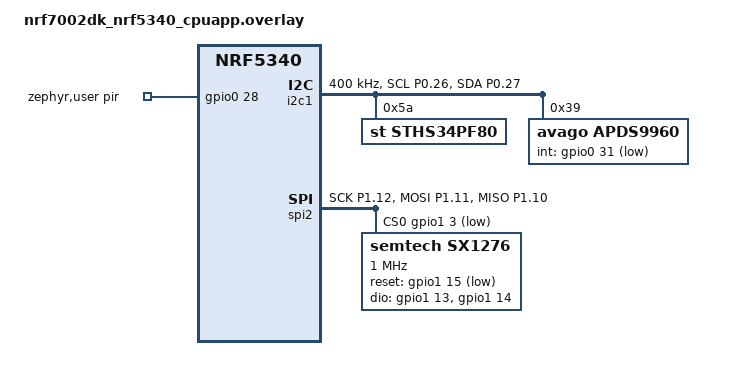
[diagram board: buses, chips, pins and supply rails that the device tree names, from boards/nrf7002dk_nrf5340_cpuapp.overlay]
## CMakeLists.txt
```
# SPDX-License-Identifier: Apache-2.0

cmake_minimum_required(VERSION 3.20.0)

find_package(Zephyr REQUIRED HINTS $ENV{ZEPHYR_BASE})
project(zephyr_app)

FILE(GLOB app_sources src/*.c)
# target_sources(app PRIVATE ${app_sources})
target_sources(app PRIVATE
    src/main.c
    src/sths34pf80_reg.c
    src/color.c
    src/pir.c
    src/lorawan.c
)

target_include_directories(app PRIVATE ${CMAKE_CURRENT_SOURCE_DIR}/include)

zephyr_library_sources(
    #src/sths34pf80_zephyr.c
    src/sths34pf80_reg.c
    src/color.c
    src/pir.c
    src/lorawan.c
)
```

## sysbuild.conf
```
# # Step 1.1 - Enable MCUboot 
# SB_CONFIG_BOOTLOADER_MCUBOOT=y

# # STEP 1.2 - Configure bootloader to use only one slot. 
# # SB_CONFIG_MCUBOOT_MODE_SINGLE_APP=y
# # STEP 5.1 - Go back to two slots, as we need two for DFU from the app
# SB_CONFIG_MCUBOOT_MODE_SINGLE_APP=n

# # STEP 2.1 - Add private key for MCUboot
# SB_CONFIG_BOOT_SIGNATURE_KEY_FILE="\${APP_DIR}/private_key.pem"

# # STEP 2.2. - Configure key type
# SB_CONFIG_BOOT_SIGNATURE_TYPE_ECDSA_P256=y

# # STEP 3.1 - MCUboot should use external flash
# SB_CONFIG_PM_EXTERNAL_FLASH_MCUBOOT_SECONDARY=y
# # STEP 3.1 - For SPI, we need to set this
# SB_CONFIG_PM_OVERRIDE_EXTERNAL_DRIVER_CHECK=y

SB_CONFIG_BOOTLOADER_MCUBOOT=n
```

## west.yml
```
manifest:
  remotes:
    - name: nrf-connect-sdk
      url-base: https://github.com/nrfconnect
    # Add the Memfault GitHub repo
    - name: memfault
      url-base: https://github.com/memfault

  projects:
    - name: sdk-nrf
      remote: nrf-connect-sdk
      path: nrf
      revision: v3.1.1
      import: true

    # Explicitly add the Memfault SDK, to override the version in the sdk-nrf manifest
    - name: memfault-firmware-sdk
      path: modules/lib/memfault-firmware-sdk
      revision: 1.30.3
      remote: memfault

  self:
    path: .
```

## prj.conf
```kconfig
# Logging
CONFIG_LOG=y
CONFIG_LOG_MODE_DEFERRED=y

# Stacks
CONFIG_MAIN_STACK_SIZE=2048
CONFIG_SYSTEM_WORKQUEUE_STACK_SIZE=2048

# Basic drivers
CONFIG_GPIO=y
CONFIG_I2C=y

CONFIG_CBPRINTF_FP_SUPPORT=y

CONFIG_SENSOR=y

# For APDS-9960 Zephyr driver
CONFIG_APDS9960=y


# LoRa / LoRaWAN
CONFIG_LORA=y
CONFIG_LORAWAN=y
CONFIG_LORAMAC_REGION_US915=y
CONFIG_HAS_SEMTECH_RADIO_DRIVERS=y
CONFIG_LORA_SX127X=y

CONFIG_TEST_RANDOM_GENERATOR=y
CONFIG_ENTROPY_GENERATOR=y

# # MCUboot + mcumgr over UART (optional but matches your DFU setup)
# CONFIG_BOOTLOADER_MCUBOOT=y
# CONFIG_MCUMGR=y
# CONFIG_MCUMGR_GRP_OS=y
# CONFIG_MCUMGR_GRP_IMG=y
# CONFIG_MCUMGR_TRANSPORT_UART=y

# # mcumgr dependencies
# CONFIG_NET_BUF=y
# CONFIG_ZCBOR=y
# CONFIG_CRC=y
# CONFIG_FLASH=y
# CONFIG_IMG_MANAGER=y
# CONFIG_STREAM_FLASH=y
# CONFIG_FLASH_MAP=y
# CONFIG_BASE64=y

# CONFIG_MAIN_STACK_SIZE=2048
# CONFIG_SYSTEM_WORKQUEUE_STACK_SIZE=2048
# CONFIG_HAS_SEMTECH_RADIO_DRIVERS=y
# CONFIG_LORA_SX127X=y

# CONFIG_BUILD_WITH_TFM=y
# CONFIG_TFM_SECURE_UART0=y

# CONFIG_ENTROPY_GENERATOR=y
# CONFIG_TEST_RANDOM_GENERATOR=y

# CONFIG_I2C=y

# # CONFIG_MCUBOOT_LOG_LEVEL_INF=y
# CONFIG_GPIO=y

# # # Step 5.2 -Enable mcumgr DFU in application
# # # Enable MCUMGR 
# CONFIG_MCUMGR=y

# # # Enable MCUMGR management for both OS and Images
# CONFIG_MCUMGR_GRP_OS=y
# CONFIG_MCUMGR_GRP_IMG=y

# # # Configure MCUMGR transport to UART
# CONFIG_MCUMGR_TRANSPORT_UART=y

# # # Dependencies
# # # Configure dependencies for CONFIG_MCUMGR  
# CONFIG_NET_BUF=y
# CONFIG_ZCBOR=y
# CONFIG_CRC=y

# # # Configure dependencies for CONFIG_MCUMGR_GRP_IMG  
# CONFIG_FLASH=y
# CONFIG_IMG_MANAGER=y

# # # Configure dependencies for CONFIG_IMG_MANAGER  
# CONFIG_STREAM_FLASH=y
# CONFIG_FLASH_MAP=y

# # # Configure dependencies for CONFIG_MCUMGR_TRANSPORT_UART 
# CONFIG_BASE64=y

# # Step 1.1 - Enable SPI driver for the application
# CONFIG_GPIO=y
# CONFIG_SPI=y
# CONFIG_SPI_NOR=y
# CONFIG_SPI_NOR_SFDP_DEVICETREE=y
# CONFIG_SPI_NOR_FLASH_LAYOUT_PAGE_SIZE=4096
# # QSPI drivers are enabled by defualt for some chips.
# # Disable it explicitly to be sure QSPI is disabled.
# CONFIG_NORDIC_QSPI_NOR=n 
```

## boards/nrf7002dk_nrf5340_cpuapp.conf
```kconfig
#
# Copyright (c) 2023 Nordic Semiconductor ASA
#
# SPDX-License-Identifier: LicenseRef-Nordic-5-Clause
#

# General
CONFIG_NEWLIB_LIBC=y
CONFIG_POSIX_CLOCK=y
# CONFIG_HEAP_MEM_POOL_SIZE=153600
CONFIG_HW_STACK_PROTECTION=y
CONFIG_HW_ID_LIBRARY=y
CONFIG_HW_ID_LIBRARY_SOURCE_NET_MAC=y

# Heap and stacks
CONFIG_HEAP_MEM_POOL_SIZE=73728
CONFIG_MAIN_STACK_SIZE=2048
CONFIG_SYSTEM_WORKQUEUE_STACK_SIZE=4096
CONFIG_NET_TX_STACK_SIZE=8192
CONFIG_NET_RX_STACK_SIZE=8192

# Network
CONFIG_NET_SOCKETS=y
CONFIG_NET_L2_ETHERNET=y
CONFIG_NET_TCP=y
CONFIG_NET_TCP_WORKQ_STACK_SIZE=8192
CONFIG_NET_UDP=y
CONFIG_NET_SOCKETS_OFFLOAD=y
CONFIG_NET_DHCPV4=y
CONFIG_NET_CONTEXT_SNDTIMEO=y
CONFIG_NET_SOCKETS_SOCKOPT_TLS=y
CONFIG_NET_STATISTICS=y
CONFIG_NET_STATISTICS_WIFI=y
CONFIG_NET_STATISTICS_USER_API=n
CONFIG_NET_PKT_RX_COUNT=8
CONFIG_NET_PKT_TX_COUNT=8
CONFIG_NET_MAX_CONTEXTS=5
CONFIG_NET_CONTEXT_SYNC_RECV=y

# DNS
CONFIG_DNS_RESOLVER=y
CONFIG_NET_SOCKETS_DNS_TIMEOUT=30000

# printing of scan results puts pressure on queues in new locking
# design in net_mgmt. So, use a typical number of networks in a crowded
# environment as the queue depth.
CONFIG_NET_MGMT_EVENT_QUEUE_SIZE=50

# Below section is the primary contributor to SRAM and is currently
# not optimized for size.
CONFIG_NET_BUF_RX_COUNT=16
CONFIG_NET_BUF_TX_COUNT=32
CONFIG_NET_BUF_DATA_SIZE=128
# CONFIG_HEAP_MEM_POOL_SIZE=153600
CONFIG_NET_TC_TX_COUNT=1

# Wi-Fi
CONFIG_WIFI=y
CONFIG_NET_L2_WIFI_SHELL=y
CONFIG_NET_SHELL=y
CONFIG_WIFI_CREDENTIALS=y

# Shell
CONFIG_SHELL=y
CONFIG_SHELL_STACK_SIZE=8192

# WPA
CONFIG_WIFI_NM_WPA_SUPPLICANT=y

# Settings subsystem
CONFIG_NVS=y
CONFIG_SETTINGS=y
CONFIG_SETTINGS_NVS=y

# Native network stack
CONFIG_NRF_SECURITY=y
CONFIG_MBEDTLS=y
CONFIG_MBEDTLS_ENABLE_HEAP=y
CONFIG_MBEDTLS_HEAP_SIZE=16000
CONFIG_MBEDTLS_RSA_C=y
CONFIG_MBEDTLS_SSL_SERVER_NAME_INDICATION=y

# PSA
CONFIG_PSA_CRYPTO_DRIVER_CC3XX=n
CONFIG_PSA_WANT_KEY_TYPE_RSA_PUBLIC_KEY=y
CONFIG_PSA_WANT_RSA_KEY_SIZE_2048=y

# Certificate management
CONFIG_MEMFAULT_ROOT_CERT_STORAGE_TLS_CREDENTIAL_STORAGE=y
CONFIG_MEMFAULT_NCS_PROVISION_CERTIFICATES=y

# The sample enables flash storage for coredumps, which depend on the parition manager.
# By default, nRF7002DK builds are for a single image, so the partition manager must be enabled
# also for single image builds.
#CONFIG_PM_SINGLE_IMAGE=y

# Zephyr NET Connection Manager Connectivity layer.
CONFIG_L2_WIFI_CONNECTIVITY=y
CONFIG_L2_WIFI_CONNECTIVITY_AUTO_CONNECT=n
CONFIG_L2_WIFI_CONNECTIVITY_AUTO_DOWN=n

CONFIG_NET_CONNECTION_MANAGER_MONITOR_STACK_SIZE=8192
```

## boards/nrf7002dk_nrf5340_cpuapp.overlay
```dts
/ {
};

&pinctrl {
    i2c1_default: i2c1_default {
        group1 {
            psels = <NRF_PSEL(TWIM_SCL, 0, 26)>,
                    <NRF_PSEL(TWIM_SDA, 0, 27)>;
            bias-pull-up;
        };
    };

    i2c1_sleep: i2c1_sleep {
        group1 {
            psels = <NRF_PSEL(TWIM_SCL, 0, 26)>,
                    <NRF_PSEL(TWIM_SDA, 0, 27)>;
            low-power-enable;
        };
    };
};

&i2c1 {
    status = "okay";
    pinctrl-0 = <&i2c1_default>;
    pinctrl-1 = <&i2c1_sleep>;
    pinctrl-names = "default", "sleep";
    clock-frequency = <I2C_BITRATE_FAST>;

    sths34pf80: sths34pf80@5a {
        compatible = "st,sths34pf80";
        reg = <0x5a>;
        label = "STHS34PF80";
        status = "okay";
    };

    apds9960: apds9960@39 {
        compatible = "avago,apds9960";
        reg = <0x39>;
        int-gpios = <&gpio0 31 GPIO_ACTIVE_LOW>;
        status = "okay";
    };
};

/ {
  zephyr,user {
      pir_gpios = <&gpio0 28 (GPIO_PULL_DOWN | GPIO_ACTIVE_HIGH)>;
      /* If your PIR idles HIGH and pulses LOW, use GPIO_ACTIVE_LOW instead */
  };
};

&spi2 {
    status = "okay";
    compatible = "nordic,nrf-spim";
    cs-gpios = <&gpio1 3 GPIO_ACTIVE_LOW>;   /* P1.03 */

    pinctrl-0 = <&spi2_default>;
    pinctrl-1 = <&spi2_sleep>;
    pinctrl-names = "default", "sleep";

    lora: sx1276@0 {
        compatible = "semtech,sx1276";
        reg = <0>;
        label = "sx1276";

        reset-gpios = <&gpio1 15 GPIO_ACTIVE_LOW>; /* P1.15 */

        dio-gpios = <&gpio1 13 (GPIO_PULL_DOWN | GPIO_ACTIVE_HIGH)>, /* P1.13 */
                    <&gpio1 14 (GPIO_PULL_DOWN | GPIO_ACTIVE_HIGH)>; /* P1.14 */

        spi-max-frequency = <1000000>;
        power-amplifier-output = "pa-boost";
    };
};

&pinctrl {
    /omit-if-no-ref/ spi2_default: spi2_default {
        group1 {
            psels = <NRF_PSEL(SPIM_SCK,  1, 12)>, /* SCK  on P1.12 */
                    <NRF_PSEL(SPIM_MOSI, 1, 11)>, /* MOSI on P1.11 */
                    <NRF_PSEL(SPIM_MISO, 1, 10)>; /* MISO on P1.10 */
        };
    };

    /omit-if-no-ref/ spi2_sleep: spi2_sleep {
        group1 {
            psels = <NRF_PSEL(SPIM_SCK,  1, 12)>,
                    <NRF_PSEL(SPIM_MOSI, 1, 11)>,
                    <NRF_PSEL(SPIM_MISO, 1, 10)>;
            low-power-enable;
        };
    };
};

&{/} {
    aliases {
        lora0 = &lora;
    };
};


// / {
// };

// &pinctrl {
//     i2c1_default: i2c1_default {
//         group1 {
//             psels = <NRF_PSEL(TWIM_SCL, 0, 26)>,
//                     <NRF_PSEL(TWIM_SDA, 0, 27)>;
//             bias-pull-up;
//         };
//     };

//     i2c1_sleep: i2c1_sleep {
//         group1 {
//             psels = <NRF_PSEL(TWIM_SCL, 0, 26)>,
//                     <NRF_PSEL(TWIM_SDA, 0, 27)>;
//             low-power-enable;
//         };
//     };
// };

// &i2c1 {
//     status = "okay";
//     pinctrl-0 = <&i2c1_default>;
//     pinctrl-1 = <&i2c1_sleep>;
//     pinctrl-names = "default", "sleep";

//     clock-frequency = <I2C_BITRATE_FAST>;

//     sths34pf80: sths34pf80@5a {
//         compatible = "st,sths34pf80";
//         reg = <0x5a>;
//         label = "STHS34PF80";
//         status = "okay";
//     };
// };

// / {
// };

// &pinctrl {
//     /* Explicit I2C1 pin configuration: TWIM1 SCL = P1.06, SDA = P1.04 */
//     i2c1_default: i2c1_default {
//         group1 {
//             bias-pull-up;
//             psels = <NRF_PSEL(TWIM_SCL, 1, 6)>,  /* SCL on P1.06 */
//                     <NRF_PSEL(TWIM_SDA, 1, 4)>; /* SDA on P1.04 */
//         };
//     };

//     i2c1_sleep: i2c1_sleep {
//         group1 {
//             psels = <NRF_PSEL(TWIM_SCL, 1, 6)>,
//                     <NRF_PSEL(TWIM_SDA, 1, 4)>;
//             low-power-enable;
//         };
//     };
// };

// &i2c1 {
//     status = "okay";

//     /* Use our explicit pinctrl states */
//     pinctrl-0 = <&i2c1_default>;
//     pinctrl-1 = <&i2c1_sleep>;
//     pinctrl-names = "default", "sleep";

//     sths34pf80: sths34pf80@5a {
//         compatible = "st,sths34pf80";
//         reg = <0x5a>;           /* 7-bit I2C address (default for SparkFun board) */
//         label = "STHS34PF80";
//         status = "okay";
//     };
// };

// &spi1 {
//     status = "okay";
//     compatible = "nordic,nrf-spim";
//     cs-gpios = <&gpio0 15 GPIO_ACTIVE_LOW>;

//     pinctrl-0 = <&spi1_default>;
//     pinctrl-1 = <&spi1_sleep>;
//     pinctrl-names = "default", "sleep";
//     lora: sx1276@0 {
//         compatible = "semtech,sx1276";
//         reg = <0>;
//         label = "sx1276";
//         reset-gpios = <&gpio0 0 GPIO_ACTIVE_LOW>;
//         dio-gpios = <&gpio0 4 (GPIO_PULL_DOWN | GPIO_ACTIVE_HIGH)>,
//                      <&gpio0 1 (GPIO_PULL_DOWN | GPIO_ACTIVE_HIGH)>,
//                      <&gpio0 0 (GPIO_PULL_DOWN | GPIO_ACTIVE_HIGH)>,
//                      <&gpio0 13 (GPIO_PULL_DOWN | GPIO_ACTIVE_HIGH)>,
//                      <&gpio0 5 (GPIO_PULL_DOWN | GPIO_ACTIVE_HIGH)>,
//                      <&gpio0 4 (GPIO_PULL_DOWN | GPIO_ACTIVE_HIGH)>;
//         rfi-enable-gpios = <&gpio0 1 GPIO_ACTIVE_HIGH>;
//         rfo-enable-gpios = <&gpio0 2 GPIO_ACTIVE_HIGH>;
//         pa-boost-enable-gpios = <&gpio0 1 GPIO_ACTIVE_HIGH>;
//         tcxo-power-gpios = <&gpio0 12 GPIO_ACTIVE_HIGH>;
//         tcxo-power-startup-delay-ms = <5>;
//         spi-max-frequency = <1000000>;
//     };
// };

// &pinctrl {
// 	/omit-if-no-ref/ spi1_default: spi1_default {
// 		group1 {
// 			psels = <NRF_PSEL(SPIM_SCK, 1, 12)>,
// 				<NRF_PSEL(SPIM_MOSI, 1, 11)>,
// 				<NRF_PSEL(SPIM_MISO, 1, 10)>;
// 		};
// 	};

// 	/omit-if-no-ref/ spi1_sleep: spi1_sleep {
// 		group1 {
// 			psels = <NRF_PSEL(SPIM_SCK, 1, 12)>,
// 				<NRF_PSEL(SPIM_MOSI, 1, 11)>,
// 				<NRF_PSEL(SPIM_MISO, 1, 10)>;
// 			low-power-enable;
// 		};
// 	};
// };

// / {
//     aliases {
//        lora0 = &lora;
//   };
// };
```

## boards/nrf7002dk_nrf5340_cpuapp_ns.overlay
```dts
&spi2 {
  status = "okay";
  compatible = "nordic,nrf-spim";
  cs-gpios = <&gpio1 3 GPIO_ACTIVE_LOW>;

  pinctrl-0 = <&spi2_default>;
  pinctrl-1 = <&spi2_sleep>;
  pinctrl-names = "default", "sleep";
  lora: sx1276@0 {
    compatible = "semtech,sx1276";
    reg = <0>;
    label = "sx1276";
    reset-gpios = <&gpio1 15 GPIO_ACTIVE_LOW>;
    dio-gpios = <&gpio1 13 (GPIO_PULL_DOWN | GPIO_ACTIVE_HIGH)>,
      <&gpio1 14 (GPIO_PULL_DOWN | GPIO_ACTIVE_HIGH)>;
      spi-max-frequency = <1000000>;
      power-amplifier-output = "pa-boost";
  };
};

// spi setup for rgb sensor
// &i2c0 {
//   compatible = "nordic,nrf-twim";
//   status = "okay";

//   pinctrl-0 = <&i2c0_default>;
//   pinctrl-1 = <&i2c0_sleep>;
//   pinctrl-names = "default", "sleep";

//   clock-frequency = <I2C_BITRATE_STANDARD>;

//   apds9960@39 {
//       compatible = "avago,apds9960";
//       reg = <0x39>;
//       label = "APDS9960";
//       status = "okay";
//       int-gpios = <&gpio0 4 GPIO_ACTIVE_LOW>;
//   };
// };

&pinctrl {
  /omit-if-no-ref/ spi2_default: spi2_default {
      group1 {
          psels = <NRF_PSEL(SPIM_SCK, 1, 12)>,
                  <NRF_PSEL(SPIM_MOSI, 1, 11)>,
                  <NRF_PSEL(SPIM_MISO, 1, 10)>;
      };
  };

  /omit-if-no-ref/ spi2_sleep: spi2_sleep {
      group1 {
          psels = <NRF_PSEL(SPIM_SCK, 1, 12)>,
                  <NRF_PSEL(SPIM_MOSI, 1, 11)>,
                  <NRF_PSEL(SPIM_MISO, 1, 10)>;
          low-power-enable;
      };
  };

  // i2c0_default: i2c0_default {
  //       group1 {
  //           psels = <NRF_PSEL(TWIM_SDA, 0, 2)>,
  //                   <NRF_PSEL(TWIM_SCL, 0, 3)>;
  //       };
  //   };

  //   i2c0_sleep: i2c0_sleep {
  //       group1 {
  //           psels = <NRF_PSEL(TWIM_SDA, 0, 2)>,
  //                   <NRF_PSEL(TWIM_SCL, 0, 3)>;
  //           low-power-enable;
  //       };
  //   };
// };
};

/ {
  aliases {
    lora0 = &lora;
  };
};
/* STEP 2.1 - Add external flash to application */
&mx25r64 {
	status = "okay";
};

/ {
	chosen {
		nordic,pm-ext-flash = &mx25r64;
	};
};

 
// May be needed for ns version of app to run correctly without kernel panic on launch
// EDIT: Seems to have resolved itself without disabling in DT by adding CONFIG_TFM_SECURE_UART0 to prj.conf
// see https://docs.nordicsemi.com/bundle/ncs-latest/page/nrf/security/tfm/tfm_logging.html#configuring_logging_to_the_same_uart_as_the_application
/*
&uart1 {
  status = "disabled";
};
&mx25r64 {
    status = "okay";
};
*/
```

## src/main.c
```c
// #include <zephyr/kernel.h>
// #include "lorawan.h"
// #include "blink.h"

// /* size of stack area used by each thread */
// #define BLINK_STACKSIZE 1024
// #define LORAWAN_STACKSIZE 8192

// /* scheduling priority used by each thread */
// /* Lower priority is higher */
// #define BLINK_PRIORITY 7
// #define LORAWAN_PRIORITY 5

// // LED Blinking Handler Task
// K_THREAD_DEFINE(blink_handler_id, BLINK_STACKSIZE, blink_handler, NULL, NULL,
// NULL, BLINK_PRIORITY, 0, 0); // Main Green LED

// // LoRaWAN Handler Task
// K_THREAD_DEFINE(lorawan_handler_id, LORAWAN_STACKSIZE, lorawan_handler, NULL,
// NULL, NULL, LORAWAN_PRIORITY, 0, 0);

// #include <zephyr/kernel.h>
// #include <zephyr/device.h>
// #include <zephyr/devicetree.h>
// #include <zephyr/sys/printk.h>

// #include "sths34pf80_reg.h"

// /* Must match node label in your devicetree overlay */
// #define STHS_NODE DT_NODELABEL(sths34pf80)

// static struct sths34pf80_zephyr sths_dev;

// void main(void)
// {
//   int ret;

//   printk("STHS34PF80 human-presence demo starting...\n");

//   /* Let power / I2C rails settle */
//   k_msleep(4000);

//   const struct i2c_dt_spec bus = I2C_DT_SPEC_GET(STHS_NODE);

//   ret = sths34pf80z_init(&sths_dev, &bus);
//   if (ret)
//   {
//     printk("STHS init failed (%d)\n", ret);
//     return;
//   }

//   printk("STHS init OK, entering measurement loop...\n");

//   while (1)
//   {
//     float tamb_c = 0.0f;
//     float tobj_c = 0.0f;
//     float tobj_comp_c = 0.0f;
//     int16_t raw_tamb = 0;
//     int16_t raw_tobj = 0;
//     int16_t raw_tobj_comp = 0;
//     int16_t raw_tpres = 0;
//     int16_t raw_tmotion = 0;
//     bool presence = false;
//     bool motion = false;
//     bool amb_shock = false;

//     /* Ambient temperature */
//     ret = sths34pf80z_read_ambient_raw(&sths_dev, &raw_tamb);
//     if (!ret)
//     {
//       tamb_c = (float)raw_tamb / STHS34PF80_TAMBIENT_SENS_LSB_PER_C;
//     }

//     /* Object & compensated object temperature */
//     ret = sths34pf80z_read_object_raw(&sths_dev, &raw_tobj);
//     if (!ret)
//     {
//       tobj_c = (float)raw_tobj / STHS34PF80_TOBJECT_SENS_LSB_PER_C;
//     }

//     ret = sths34pf80z_read_tobj_comp_raw(&sths_dev, &raw_tobj_comp);
//     if (!ret)
//     {
//       tobj_comp_c =
//           (float)raw_tobj_comp / STHS34PF80_TOBJECT_SENS_LSB_PER_C;
//     }

//     /* Presence / motion metrics */
//     ret = sths34pf80z_read_presence_metrics(&sths_dev,
//                                             &presence,
//                                             &motion,
//                                             &amb_shock,
//                                             &raw_tpres,
//                                             &raw_tmotion);
//     if (ret)
//     {
//       printk("Presence metrics read failed (%d)\n", ret);
//     }

//     /* Very simple heuristic:
//      *   - "hot object" if compensated object temp >
//      *         ambient + 3 °C
//      *   - "human present" if presence flag OR hot object
//      */
//     bool hot_object = (tobj_comp_c > tamb_c + 3.0f);
//     bool human_present = presence || hot_object;

//     printk("Tambient: %.2f C (raw=%d) | "
//            "Tobj: %.2f C (raw=%d) | "
//            "Tobj_comp: %.2f C (raw=%d)\n",
//            tamb_c, raw_tamb,
//            tobj_c, raw_tobj,
//            tobj_comp_c, raw_tobj_comp);

//     printk("Presence flags: presence=%d motion=%d amb_shock=%d | "
//            "TPRES=%d TMOTION=%d | "
//            "human_present=%d hot_object=%d\n",
//            presence, motion, amb_shock,
//            raw_tpres, raw_tmotion,
//            human_present, hot_object);

//     /* For ODR = 4 Hz, 250 ms between reads is fine */
//     k_msleep(250);
//   }
// }

// #include <zephyr/kernel.h>
// #include <zephyr/device.h>
// #include <zephyr/devicetree.h>
// #include <zephyr/drivers/i2c.h>
// #include <zephyr/sys/printk.h>

// #include "sths34pf80_reg.h"

// /* Node label from the overlay */
// #define STHS_NODE DT_NODELABEL(sths34pf80)

// /* Get I2C bus + address from devicetree */
// static const struct i2c_dt_spec sths_i2c = I2C_DT_SPEC_GET(STHS_NODE);

// /* ST driver context */
// static stmdev_ctx_t sths_ctx;

// /* --- Conversion factors (check datasheet and adjust if needed!) --- */
// /* These are placeholders – verify against the STHS34PF80 datasheet. */
// #define STHS34PF80_TAMBIENT_LSB_PER_C 10.0f /* TODO: verify */
// #define STHS34PF80_TOBJECT_LSB_PER_C 200.0f /* TODO: verify */

// /* --- Zephyr <-> ST driver glue --- */

// static int32_t sths_platform_write(void *handle,
//                                    uint8_t reg,
//                                    const uint8_t *bufp,
//                                    uint16_t len)
// {
//   const struct i2c_dt_spec *spec = handle;

//   /* Compose [reg | data...] buffer on stack */
//   uint8_t tmp[1 + 32];

//   if (len > 32)
//   {
//     /* This device uses small registers; guard against silly sizes. */
//     return -1;
//   }

//   tmp[0] = reg;
//   for (uint16_t i = 0; i < len; i++)
//   {
//     tmp[1 + i] = bufp[i];
//   }

//   int ret = i2c_write_dt(spec, tmp, 1 + len);
//   return (ret == 0) ? 0 : -1;
// }

// static int32_t sths_platform_read(void *handle,
//                                   uint8_t reg,
//                                   uint8_t *bufp,
//                                   uint16_t len)
// {
//   const struct i2c_dt_spec *spec = handle;

//   int ret = i2c_write_read_dt(spec, &reg, 1, bufp, len);
//   return (ret == 0) ? 0 : -1;
// }

// static void sths_platform_delay(uint32_t ms)
// {
//   k_msleep(ms);
// }

// /* Helper to print a float as X.XX without needing printf float support */
// static void print_temp(const char *label, float temp_c, int16_t raw)
// {
//   int32_t t100 = (int32_t)(temp_c * 100.0f);
//   int32_t whole = t100 / 100;
//   int32_t frac = t100 % 100;

//   if (frac < 0)
//   {
//     frac = -frac;
//   }

//   printk("%s: %d.%02d C (raw=%d)\n",
//          label,
//          (int)whole,
//          (int)frac,
//          raw);
// }

// /* Optional: quick I2C scan on i2c1 for sanity */
// static void i2c_scan_bus(const struct i2c_dt_spec *spec)
// {
//   printk("I2C scan on %s:\n", spec->bus->name);

//   for (uint8_t addr = 0x03; addr < 0x78; addr++)
//   {
//     struct i2c_msg msg = {
//         .buf = NULL,
//         .len = 0,
//         .flags = I2C_MSG_WRITE | I2C_MSG_STOP,
//     };

//     int ret = i2c_transfer(spec->bus, &msg, 1, addr);
//     if (ret == 0)
//     {
//       printk("  Found device at 0x%02x\n", addr);
//     }
//   }

//   printk("Scan done on %s.\n", spec->bus->name);
// }

// /* --- MAIN --- */

// void main(void)
// {
//   int32_t ret;

//   printk("STHS34PF80 demo using ST driver (non-NS / I2C1) starting...\n");

//   if (!device_is_ready(sths_i2c.bus))
//   {
//     printk("I2C device %s not ready!\n", sths_i2c.bus->name);
//     return;
//   }

//   /* Let rails settle a bit */
//   k_msleep(4000);

//   /* Optional: I2C scan for sanity */
//   i2c_scan_bus(&sths_i2c);

//   printk("STHS node bound to bus %s, addr 0x%02x\n",
//          sths_i2c.bus->name, sths_i2c.addr);

//   /* Hook Zephyr I2C into ST driver context */
//   sths_ctx.handle = (void *)&sths_i2c;
//   sths_ctx.write_reg = sths_platform_write;
//   sths_ctx.read_reg = sths_platform_read;
//   sths_ctx.mdelay = sths_platform_delay;

//   /* Check WHO_AM_I via ST driver */
//   uint8_t who = 0;
//   ret = sths34pf80_device_id_get(&sths_ctx, &who);
//   if (ret != 0)
//   {
//     printk("device_id_get failed (%ld)\n", (long)ret);
//     return;
//   }

//   printk("STHS34PF80 WHO_AM_I = 0x%02x\n", who);

//   if (who != STHS34PF80_ID)
//   {
//     printk("Unexpected WHO_AM_I (0x%02x, expected 0x%02x)\n",
//            who, STHS34PF80_ID);
//     return;
//   }

//   /* Basic config: BDU, ODR, averages, gain */
//   /* Block data update */
//   (void)sths34pf80_block_data_update_set(&sths_ctx, 1);

//   /* Temperature averaging (ambient + object) */
//   (void)sths34pf80_avg_tambient_num_set(&sths_ctx, STHS34PF80_AVG_T_4);
//   (void)sths34pf80_avg_tobject_num_set(&sths_ctx, STHS34PF80_AVG_TMOS_32);

//   /* Gain mode (default) */
//   (void)sths34pf80_gain_mode_set(&sths_ctx, STHS34PF80_GAIN_DEFAULT_MODE);

//   /* Output data rate: 4 Hz */
//   (void)sths34pf80_odr_set(&sths_ctx, STHS34PF80_ODR_AT_4Hz);

//   printk("STHS config done, entering measurement loop...\n");

//   while (1)
//   {
//     int16_t raw_tamb = 0;
//     int16_t raw_tobj = 0;
//     int16_t raw_tobj_comp = 0;
//     int16_t raw_tpres = 0;
//     int16_t raw_tmotion = 0;

//     /* Read raw values via ST API */
//     (void)sths34pf80_tambient_raw_get(&sths_ctx, &raw_tamb);
//     (void)sths34pf80_tobject_raw_get(&sths_ctx, &raw_tobj);
//     (void)sths34pf80_tobj_comp_raw_get(&sths_ctx, &raw_tobj_comp);
//     (void)sths34pf80_tpresence_raw_get(&sths_ctx, &raw_tpres);
//     (void)sths34pf80_tmotion_raw_get(&sths_ctx, &raw_tmotion);

//     /* Convert to °C with placeholder scales – adjust per datasheet */
//     float tamb_c = raw_tamb / STHS34PF80_TAMBIENT_LSB_PER_C;
//     float tobj_c = raw_tobj / STHS34PF80_TOBJECT_LSB_PER_C;
//     float tobj_comp_c = raw_tobj_comp / STHS34PF80_TOBJECT_LSB_PER_C;

//     /* Simple heuristic: hot object if Tobj_comp > Tamb + 3°C */
//     bool hot_object = (tobj_comp_c > tamb_c + 3.0f);

//     print_temp("Tambient", tamb_c, raw_tamb);
//     print_temp("Tobject", tobj_c, raw_tobj);
//     print_temp("Tobject_comp", tobj_comp_c, raw_tobj_comp);

//     printk("Presence/motion raw: TPRES=%d TMOTION=%d | hot_object=%d\n",
//            raw_tpres, raw_tmotion, hot_object);

//     /* For 4 Hz ODR, ~250 ms between reads is fine */
//     k_msleep(250);
//   }
// }

#include <zephyr/device.h>
#include <zephyr/drivers/i2c.h>
#include <zephyr/kernel.h>
#include <zephyr/sys/printk.h>

#include <stdbool.h>
#include <stdint.h>
#include <string.h>

#include "color.h"
#include "lorawan.h"
#include "pir.h"
#include "sths34pf80_reg.h"

#include <stdint.h>

/* I2C bus used for both STHS34PF80 and APDS9960 */
#define I2C1_NODE DT_NODELABEL(i2c1)
#define STHS34PF80_I2C_ADDR 0x5A

#define LORAWAN_STACKSIZE 8192
#define LORAWAN_PRIORITY 5

/* Temperature conversion factors (LSB per °C).
 * Adjust if you want exact scaling from the datasheet. */
#define STHS34PF80_TAMBIENT_SENS_LSB_PER_C 10.0f
#define STHS34PF80_TOBJECT_SENS_LSB_PER_C 10.0f

#define PIR_STACKSIZE 1024
#define PIR_PRIORITY 6
#define COLOR_PRIORITY 0

uint32_t mainled_rate = 0;

/* Global context for STHS34PF80 */
static const struct device *i2c1_dev;
static stmdev_ctx_t sths_ctx;

char print_buffer[256];

// LoRaWAN Handler Task
K_THREAD_DEFINE(lorawan_handler_id, LORAWAN_STACKSIZE, lorawan_handler, NULL,
                NULL, NULL, LORAWAN_PRIORITY, 0, 0);

// PIR handler
K_THREAD_DEFINE(pir_handler_id, PIR_STACKSIZE, pir_handler, NULL, NULL, NULL,
                PIR_PRIORITY, 0, 0);

// Color handler
// K_THREAD_DEFINE(color_handler_id, PIR_STACKSIZE, color_handler, NULL, NULL,
// NULL, PIR_PRIORITY, 0, 0);

/* ---------- Low-level I2C bridge for ST driver ---------- */

static int32_t sths_i2c_write(void *ctx, uint8_t reg, const uint8_t *bufp,
                              uint16_t len) {
  const struct device *i2c = (const struct device *)ctx;

  /* Build [reg | data...] buffer on stack */
  uint8_t tmp[1 + 32];
  if (len > 32U) {
    /* Avoid silly-sized transfers; tune if needed */
    return -1;
  }

  tmp[0] = reg;
  memcpy(&tmp[1], bufp, len);

  int ret = i2c_write(i2c, tmp, len + 1, STHS34PF80_I2C_ADDR);
  return (ret == 0) ? 0 : -1;
}

static int32_t sths_i2c_read(void *ctx, uint8_t reg, uint8_t *bufp,
                             uint16_t len) {
  const struct device *i2c = (const struct device *)ctx;

  int ret = i2c_write_read(i2c, STHS34PF80_I2C_ADDR, &reg, 1, bufp, len);
  return (ret == 0) ? 0 : -1;
}

static void sths_delay(uint32_t msec) { k_msleep(msec); }

/* ---------- STHS34PF80 initialization ---------- */

static int sths_init(void) {
  int32_t ret;
  uint8_t whoami = 0;

  i2c1_dev = DEVICE_DT_GET(I2C1_NODE);
  if (!device_is_ready(i2c1_dev)) {
    printk("I2C1 device not ready\n");
    return -ENODEV;
  }

  /* Wire ST driver context to Zephyr I2C */
  sths_ctx.write_reg = sths_i2c_write;
  sths_ctx.read_reg = sths_i2c_read;
  sths_ctx.mdelay = sths_delay;
  sths_ctx.handle = (void *)i2c1_dev;

  /* Check WHOAMI */
  ret = sths34pf80_device_id_get(&sths_ctx, &whoami);
  if (ret != 0) {
    printk("STHS34PF80: WHOAMI read failed (%d)\n", (int)ret);
    return -EIO;
  }

  printk("STHS34PF80 WHOAMI=0x%02x\n", whoami);
  if (whoami != STHS34PF80_ID) {
    printk("STHS34PF80: unexpected ID (expected 0x%02x)\n", STHS34PF80_ID);
    return -EINVAL;
  }

  /* Block data update */
  (void)sths34pf80_block_data_update_set(&sths_ctx, 1);

  /* Set averages:
   *  - Object temperature: use 32 samples (enum uses TMOS naming)
   *  - Ambient temperature: use 8 samples (T_8 etc.)
   */
  (void)sths34pf80_avg_tobject_num_set(&sths_ctx, STHS34PF80_AVG_TMOS_32);
  (void)sths34pf80_avg_tambient_num_set(&sths_ctx, STHS34PF80_AVG_T_8);

  /* Gain mode: use default gain */
  (void)sths34pf80_gain_mode_set(&sths_ctx, STHS34PF80_GAIN_DEFAULT_MODE);

  /* Output data rate: 4 Hz */
  (void)sths34pf80_odr_set(&sths_ctx, STHS34PF80_ODR_AT_4Hz);

  return 0;
}

/* ---------- APDS9960 thread wrapper ---------- */

/* color_handler() is defined in color.c and runs its own while(1) loop.
 * We put it in its own Zephyr thread so main() can still run STHS34PF80. */
// static void color_thread_entry(void *a, void *b, void *c)
// {
//   ARG_UNUSED(a);
//   ARG_UNUSED(b);
//   ARG_UNUSED(c);
//   color_handler(); /* never returns */
// }

/* Stack size / priority: tweak if needed */
K_THREAD_DEFINE(color_thread_id, PIR_STACKSIZE, color_handler, NULL, NULL, NULL,
                COLOR_PRIORITY, 0, 0);

// K_THREAD_DEFINE(color_handler_id, PIR_STACKSIZE, color_handler, NULL, NULL,
// NULL, PIR_PRIORITY, 0, 0);

/* ---------- Main ---------- */

void main(void) {
  int ret;

  printk("STHS34PF80 + APDS9960 demo starting...\n");

  /* Give power rails & APDS reset some time */
  k_msleep(1000);

  ret = sths_init();
  if (ret) {
    printk("STHS34PF80 init failed (%d), continuing anyway\n", ret);
  } else {
    printk("STHS34PF80 init OK, entering measurement loop...\n");
  }

  while (1) {
    /* Only try to read if init succeeded */
    if (ret == 0) {
      sths34pf80_drdy_status_t drdy;
      int32_t st = sths34pf80_drdy_status_get(&sths_ctx, &drdy);

      if (st == 0 && drdy.drdy) {
        int16_t raw_tamb = 0;
        int16_t raw_tobj = 0;
        int16_t raw_tobj_comp = 0;
        int16_t raw_tpres = 0;
        int16_t raw_tmotion = 0;
        sths34pf80_func_status_t fstatus;

        (void)sths34pf80_tambient_raw_get(&sths_ctx, &raw_tamb);
        (void)sths34pf80_tobject_raw_get(&sths_ctx, &raw_tobj);
        (void)sths34pf80_tobj_comp_raw_get(&sths_ctx, &raw_tobj_comp);
        (void)sths34pf80_tpresence_raw_get(&sths_ctx, &raw_tpres);
        (void)sths34pf80_tmotion_raw_get(&sths_ctx, &raw_tmotion);
        (void)sths34pf80_func_status_get(&sths_ctx, &fstatus);

        float tamb_c = (float)raw_tamb / STHS34PF80_TAMBIENT_SENS_LSB_PER_C;
        float tobj_c = (float)raw_tobj / STHS34PF80_TOBJECT_SENS_LSB_PER_C;
        float tobj_comp_c =
            (float)raw_tobj_comp / STHS34PF80_TOBJECT_SENS_LSB_PER_C;

        bool presence = (fstatus.pres_flag != 0U);
        bool motion = (fstatus.mot_flag != 0U);
        bool amb_shock = (fstatus.mot_flag != 0U);

        bool hot_object = (tobj_comp_c > tamb_c + 3.0f);
        bool human_present = (tobj_c > 0.0f);

        // int no_humans_present = (tobj_c < 50.0f) ? 0 : // no humans
        //                             (tobj_c < 150.0f) ? 1
        //                                               : // one human
        //                             (tobj_c < 200.0f)
        //                             ? 1
        //                             :  // maybe two (still treat as 1 for now)
        //                             2; // two humans

        int no_humans_present;
        if (tobj_c < 70.0f) {
            no_humans_present = 0;
        } else if (tobj_c < 150.0f) {
            no_humans_present = 1;
        } else if (tobj_c < 230.0f) {
            no_humans_present = 2;
        } else if (tobj_c < 400.0f) {
            no_humans_present = 3;
        } else if (tobj_c < 570.0f) {
            no_humans_present = 4;
        } else {
            no_humans_present = 5;
        }

        // 6in = 577
        // 1 ft = 305
        // 2ft = 212/215
        // 3ft = 130
        // 4ft = 112
        // black body radiation curve fits

        // 2 hands
        // 6in = 637
        // 1 ft = 400
        // 2ft = 228
        // 3ft = 175
        // 4ft = 112
        // black body radiation curve fits

        // rohan

        // 1 ft = 160
        // 2ft = 95
        // 3ft = 64
        // 4ft = 45 (35-55)
        // black body radiation curve fits

        // rohan + nandini
        // 1 ft = 255
        // 2 ft = 220
        // 3 ft = 170
        // 4ft = 115
        // black body radiation curve fits

        printk("STHS34PF80: Tamb=%.2f C Tobj=%.2f C Tobj_comp=%.2f C | "
               "TPRES=%d TMOTION=%d | flags: pres=%d mot=%d shock=%d | "
               "human_present=%d hot_object=%d no_humans_present=%d\n",
               tamb_c, tobj_c, tobj_comp_c, raw_tpres, raw_tmotion, presence,
               motion, amb_shock, human_present, hot_object, no_humans_present);
        int32_t t100 = (int32_t)(tobj_comp_c * 100.0f); /* °C * 100 */
        int32_t t_whole = t100 / 100;
        int32_t t_frac = t100 % 100;
        if (t_frac < 0) {
          t_frac = -t_frac;
        }

        /* PIR status: "M" = motion, "N" = no motion */
        const char *pir_str = motion ? "M" : "N";

        /* Populate global print_buffer */
        snprintf(print_buffer, sizeof(print_buffer),
                 "Tobj=%ld.%02ldC,PIR=%s,HP=%d,NH=%d", (long)t_whole,
                 (long)t_frac, pir_str, human_present ? 1 : 0,
                 no_humans_present);
      }
    }

    /* 4 Hz ODR: 250 ms between polls is fine */
    k_msleep(250);
  }
}
```

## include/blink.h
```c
#pragma once
#include <stdint.h>
#include "lorawan.h"

extern uint32_t mainled_rate;

void blink_handler(void);
```

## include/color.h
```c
// color.h

#include "lorawan.h"

#ifndef COLOR_H
#define COLOR_H

#ifdef __cplusplus
extern "C" {
#endif

void color_handler(void);

#ifdef __cplusplus
}
#endif

#endif // COLOR_H
```

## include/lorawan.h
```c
#pragma once

extern char print_buffer[256];

void lorawan_handler(void);
```

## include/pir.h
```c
#pragma once
#include <zephyr/kernel.h>
#include "lorawan.h"

/* Thread entry */
void pir_handler(void *, void *, void *);
```

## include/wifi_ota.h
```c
#pragma once

int wifi_ota_handler(void);
```

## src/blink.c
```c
#include "blink.h"
#include <zephyr/drivers/gpio.h>
#include <stdint.h>

#define LED0_NODE DT_ALIAS(led0)

static const struct gpio_dt_spec led0 = GPIO_DT_SPEC_GET(LED0_NODE, gpios);

uint32_t mainled_rate = 150;

static void blink(const struct gpio_dt_spec *led, uint32_t *sleep_ms, uint32_t id)
{
    int ret;

    if (!device_is_ready(led->port))
    {
        return;
    }

    ret = gpio_pin_configure_dt(led, GPIO_OUTPUT_ACTIVE);
    if (ret < 0)
    {
        return;
    }

    while (1)
    {
        // if the rate is zero we set the LED OFF
        if (*sleep_ms == 0)
        {
            gpio_pin_set_dt(led, 0);
            // and we sleep some time to let the task run
            k_msleep(200);
        }
        else
        {
            if (*sleep_ms == 1)
            {
                // Led always on
                gpio_pin_set_dt(led, 1);
                // and we sleep some time to let the task run
                k_msleep(200);
            }
            else
            {
                // Otherwise we just blink the led at the defined rate
                gpio_pin_toggle_dt(led);
                // printk("Blink %d\n", id);
                k_msleep(*sleep_ms);
            }
        }
    }
}

void blink_handler(void)
{

    blink(&led0, &mainled_rate, 0);
}
```

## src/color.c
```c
#include "color.h"
#include <zephyr/drivers/sensor.h>
#include <zephyr/kernel.h>
#include <zephyr/sys/printk.h>

void color_handler(void) {
  const struct device *dev = DEVICE_DT_GET_ONE(avago_apds9960);

  if (!dev) {
    printk("APDS9960 not found in Devicetree!\n");
    return;
  }

  if (!device_is_ready(dev)) {
    printk("APDS9960 device not ready!\n");
    return;
  }

  printk("APDS9960 Color Thread Started\n");

  while (1) {
    printk("in color loop");

    struct sensor_value r, g, b;
    struct sensor_value ambient;
    struct sensor_value prox;

    printk("after struct");

    if (sensor_sample_fetch(dev) < 0) {
      printk("APDS9960 fetch error\n");
      k_msleep(100);
      continue;
    }

    printk("fetch");

    // RGB channels
    sensor_channel_get(dev, SENSOR_CHAN_RED, &r);
    sensor_channel_get(dev, SENSOR_CHAN_GREEN, &g);
    sensor_channel_get(dev, SENSOR_CHAN_BLUE, &b);

    printk("after color get");

    // Ambient (clear light level)
    sensor_channel_get(dev, SENSOR_CHAN_LIGHT, &ambient);
    printk("after ambient get");

    // Proximity (optional)
    sensor_channel_get(dev, SENSOR_CHAN_PROX, &prox);

    printk("[COLOR] R=%d  G=%d  B=%d  Ambient=%d  Prox=%d\n", r.val1, g.val1,
           b.val1, ambient.val1, prox.val1);

    k_msleep(2000);
  }
}
```

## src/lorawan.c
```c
#include "blink.h"
#include <zephyr/logging/log.h>
#include <zephyr/lorawan/lorawan.h>
#include <zephyr/random/random.h>

#define LOG_LEVEL CONFIG_LOG_DEFAULT_LEVEL
LOG_MODULE_REGISTER(lorawan_node);
#define DEFAULT_RADIO_NODE DT_ALIAS(lora0)

/* Customize based on network configuration */
// Rohan's keys
#if defined(KEY_ROHAN)
#define LORAWAN_DEV_EUI {0x70, 0xB3, 0xD5, 0x7E, 0xD0, 0x07, 0x3C, 0x04}
#define LORAWAN_JOIN_EUI {0x00, 0x00, 0x00, 0x00, 0x00, 0x00, 0x00, 0x00}
#define LORAWAN_APP_KEY                                                        \
  {0x64, 0x5A, 0xD1, 0x33, 0xEE, 0x12, 0x30, 0x2E,                             \
   0x67, 0x59, 0x9E, 0xBA, 0xC6, 0x78, 0xD0, 0x0E}
#endif

// Jason's keys
#if defined(KEY_JASON)
#define LORAWAN_DEV_EUI {0x70, 0xB3, 0xD5, 0x7E, 0xD0, 0x07, 0x3B, 0xB3}
#define LORAWAN_JOIN_EUI {0x00, 0x00, 0x00, 0x00, 0x00, 0x00, 0x00, 0x00}
#define LORAWAN_APP_KEY                                                        \
  {0xF5, 0x5D, 0xF4, 0xFC, 0x9D, 0x13, 0xD4, 0xE4,                             \
   0x91, 0xC3, 0x87, 0x20, 0x89, 0xCF, 0x68, 0xDB}
#endif

// Nandini's keys
#if defined(KEY_NANDINI)
#define LORAWAN_DEV_EUI {0x70, 0xB3, 0xD5, 0x7E, 0xD0, 0x07, 0x3C, 0x73}
#define LORAWAN_JOIN_EUI {0x00, 0x00, 0x00, 0x00, 0x00, 0x00, 0x00, 0x00}
#define LORAWAN_APP_KEY                                                        \
  {0x62, 0x04, 0xBA, 0xC1, 0x07, 0x27, 0x93, 0xE6,                             \
   0x73, 0xFD, 0x11, 0xB8, 0x93, 0xA7, 0x31, 0x69}
#endif

#define DELAY K_MSEC(10000) // Delay between sends, 10000 ms

static char data_buf[32];
static uint32_t tx_counter = 1; // start at 1

static int set_us915_subband(uint8_t subband /* 1..8 */) {
  if (subband < 1 || subband > 8) {
    return -EINVAL;
  }

  /* LoRaMac US915 uses 6x 16-bit words for the channels mask in Zephyr */
  uint16_t mask[LORAWAN_CHANNELS_MASK_SIZE_US915] = {0};

  /* 125 kHz channels 0..63 live in mask[0..3] (16 per word).
     Each subband is 8 channels, i.e., half a 16-bit word. */
  uint8_t sb = subband - 1;
  uint8_t word = sb / 2; /* which 16-ch block (0..3) */
  bool upper_half = (sb % 2) == 1;
  mask[word] = upper_half ? 0xFF00 : 0x00FF;

  /* 500 kHz channels 64..71 live in mask[4] (bits 0..7) */
  mask[4] = BIT(sb);

  /* mask[5] remains 0 for US915 */
  return lorawan_set_channels_mask(mask, ARRAY_SIZE(mask));
}

static void dl_callback(uint8_t port, uint8_t data_pending, int16_t rssi,
                        int8_t snr, uint8_t len, const uint8_t *data) {
  LOG_INF("Downlink data received: ");
  for (int i = 0; i < len; i++)
    LOG_INF("%02X ", data[i]);

  LOG_INF("Downlink Data size: %d", len);
  LOG_INF("Downlink Data Port: %d", port);
  LOG_INF("Downlink RSSI:      %d", (int16_t)rssi);
  LOG_INF("Downlink SNR:       %d", (int16_t)snr);
  LOG_INF("Downlink Data pend: %d", data_pending);
}

// ADR change callback
static void lorawan_dtarate_changed(enum lorawan_datarate dr) {
  uint8_t unused, max_size;

  lorawan_get_payload_sizes(&unused, &max_size);
  LOG_INF("New Datarate: DR_%d, Max Payload %d", dr, max_size);
}

/* Main program.
 */

void lorawan_handler(void) {
  const struct device *lora_dev;
  struct lorawan_join_config join_cfg;
  int ret;

  // Using OTAA
  uint8_t dev_eui[] = LORAWAN_DEV_EUI;
  uint8_t join_eui[] = LORAWAN_JOIN_EUI;
  uint8_t app_key[] = LORAWAN_APP_KEY;

  k_msleep(2500);
  mainled_rate = 500; // Change led blinking rate to signal main program start.

  LOG_INF("Starting up Lora node...");

  lora_dev = DEVICE_DT_GET(DEFAULT_RADIO_NODE);
  if (!device_is_ready(lora_dev)) {
    LOG_ERR("%s: device not ready.", lora_dev->name);
    return;
  }
  LOG_INF("Starting Lorawan stack...");

#if defined(CONFIG_LORAMAC_REGION_US915)
  ret = lorawan_set_region(LORAWAN_REGION_US915);
  LOG_INF("Region set to US915");
  if (ret < 0) {
    LOG_ERR("lorawan_set_region failed: %d", ret);
    return;
  }
#endif

  lorawan_enable_adr(true);
  ret = lorawan_start();
  if (ret < 0) {
    LOG_ERR("lorawan_start failed: %d", ret);
    return;
  }

  // Enable callbacks
  struct lorawan_downlink_cb downlink_cb = {.port = LW_RECV_PORT_ANY,
                                            .cb = dl_callback};

  lorawan_register_downlink_callback(&downlink_cb);
  lorawan_register_dr_changed_callback(lorawan_dtarate_changed);

  uint32_t random = sys_rand32_get();

  uint16_t dev_nonce = random & 0x0000FFFF;

  // Using OTAA
  join_cfg.mode = LORAWAN_ACT_OTAA;
  join_cfg.dev_eui = dev_eui;
  join_cfg.otaa.join_eui = join_eui;
  join_cfg.otaa.app_key = app_key;
  join_cfg.otaa.nwk_key = app_key;
  join_cfg.otaa.dev_nonce = dev_nonce;

  LOG_INF("Joining TTN network over OTAA");

  int err = set_us915_subband(2); /* e.g., subband 2 (channels 8..15) */
  if (err) {
    printk("subband set failed: %d\n", err);
  }

  // Loop until we connect
  do {
    ret = lorawan_join(&join_cfg);
    if (ret < 0) {
      LOG_ERR("lorawan_join_network failed: %d", ret);
      mainled_rate = 100; // Flash the led very rapidly to signal failure.
      LOG_INF("Sleeping for 5s to try again to join network.");
      k_sleep(K_MSEC(5000));
      mainled_rate = 0;
    }
  } while (ret < 0);

  lorawan_enable_adr(false); // stop the network from holding you at DR_0
  lorawan_set_datarate(LORAWAN_DR_4); // US915 DR_4
  LOG_INF("Lorawan join succeeded");
  LOG_INF("Starting to send data");

  while (1) {
    const uint8_t port = 2;

    // Build "helloworld <n>" into data_buf
    uint8_t len =
        (uint8_t)snprintf(data_buf, sizeof(data_buf), "helloworld %lu",
                          (unsigned long)tx_counter++);

    if (len >= sizeof(data_buf)) {
      len = sizeof(data_buf) - 1;
    }

    // Try to send; if MAC cmds make it too tight, flush once and retry
    int ret = 0;
    for (int tries = 0; tries < 1; ++tries) {
      ret = lorawan_send(port, data_buf, len, LORAWAN_MSG_CONFIRMED);
      if (ret == -EAGAIN) {
        (void)lorawan_send(0, NULL, 0,
                           LORAWAN_MSG_CONFIRMED); // MAC-only uplink to flush
        k_sleep(K_SECONDS(2));
        continue;
      }
      break;
    }

    if (ret < 0) {
      LOG_ERR("lorawan_send failed: %d", ret);
      k_sleep(DELAY);
      continue;
    }

    LOG_INF("Data sent!");
    LOG_INF("Sent: \"%s\" (len=%u)", data_buf, len);
    LOG_INF("");
    k_sleep(DELAY);
  }

  return;
}
```

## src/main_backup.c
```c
// 
// /*
//  * Class A LoRaWAN sample application
//  *
//  * Copyright (c) 2020 Manivannan Sadhasivam <mani@kernel.org>
//  *
//  * SPDX-License-Identifier: Apache-2.0
//  */
// 
// #include <zephyr/device.h>
// #include <zephyr/lorawan/lorawan.h>
// #include <zephyr/kernel.h>
// 
// /* Customize based on network configuration */
// #define LORAWAN_DEV_EUI			{ 0x70, 0xB3, 0xD5, 0x7E, 0xD0, 0x07,\
//             0x3B, 0xB3 }
// #define LORAWAN_JOIN_EUI		{ 0x00, 0x00, 0x00, 0x00, 0x00, 0x00,\
// 					  0x00, 0x00 }
// #define LORAWAN_APP_KEY			{ 0xF5, 0x5D, 0xF4, 0xFC, 0x9D, 0x13,\
//             0xD4, 0xE4, 0x91, 0xC3, 0x87, 0x20, 0x89, 0xCF, 0x68,\
//             0xDB }
// 
// #define DELAY K_MSEC(10000)
// 
// #define LOG_LEVEL CONFIG_LOG_DEFAULT_LEVEL
// #include <zephyr/logging/log.h>
// LOG_MODULE_REGISTER(lorawan_class_a);
// 
// char data[] = {'h', 'e', 'l', 'l', 'o', 'w', 'o', 'r', 'l', 'd'};
// 
// static void dl_callback(uint8_t port, uint8_t flags, int16_t rssi, int8_t snr, uint8_t len,
// 			const uint8_t *hex_data)
// {
// 	LOG_INF("Port %d, Pending %d, RSSI %ddB, SNR %ddBm, Time %d", port,
// 		flags & LORAWAN_DATA_PENDING, rssi, snr, !!(flags & LORAWAN_TIME_UPDATED));
// 	if (hex_data) {
// 		LOG_HEXDUMP_INF(hex_data, len, "Payload: ");
// 	}
// }
// 
// static void lorwan_datarate_changed(enum lorawan_datarate dr)
// {
// 	uint8_t unused, max_size;
// 
// 	lorawan_get_payload_sizes(&unused, &max_size);
// 	LOG_INF("New Datarate: DR_%d, Max Payload %d", dr, max_size);
// }
// 
// int main(void)
// {
// 	const struct device *lora_dev;
// 	struct lorawan_join_config join_cfg;
// 	uint8_t dev_eui[] = LORAWAN_DEV_EUI;
// 	uint8_t join_eui[] = LORAWAN_JOIN_EUI;
// 	uint8_t app_key[] = LORAWAN_APP_KEY;
// 	int ret;
// 
// 	struct lorawan_downlink_cb downlink_cb = {
// 		.port = LW_RECV_PORT_ANY,
// 		.cb = dl_callback
// 	};
// 
// 	lora_dev = DEVICE_DT_GET(DT_ALIAS(lora0));
// 	if (!device_is_ready(lora_dev)) {
// 		LOG_ERR("%s: device not ready.", lora_dev->name);
// 		return 0;
// 	}
// 
// #if defined(CONFIG_LORAMAC_REGION_EU868)
// 	/* If more than one region Kconfig is selected, app should set region
// 	 * before calling lorawan_start()
// 	 */
// 	ret = lorawan_set_region(LORAWAN_REGION_EU868);
// 	if (ret < 0) {
// 		LOG_ERR("lorawan_set_region failed: %d", ret);
// 		return 0;
// 	}
// #endif
// 
// #if defined(CONFIG_LORAMAC_REGION_US915)
//   ret = lorawan_set_region(LORAWAN_REGION_US915);
//   if (ret < 0) {
//     LOG_ERR("lorawan_set_region failed: %d", ret);
//     return 0;
//   }
// #endif
//  
//   LOG_INF("after lorawan set region");
// 
// 	ret = lorawan_start();
// 	if (ret < 0) {
// 		LOG_ERR("lorawan_start failed: %d", ret);
// 		return 0;
// 	}
// 
//   LOG_INF("after lorawan start");
// 
// 	lorawan_register_downlink_callback(&downlink_cb);
// 	lorawan_register_dr_changed_callback(lorwan_datarate_changed);
// 
// 	join_cfg.mode = LORAWAN_ACT_OTAA;
// 	join_cfg.dev_eui = dev_eui;
// 	join_cfg.otaa.join_eui = join_eui;
// 	join_cfg.otaa.app_key = app_key;
// 	join_cfg.otaa.nwk_key = app_key;
// 	join_cfg.otaa.dev_nonce = 0u;
// 
// 	LOG_INF("Joining network over OTAA");
// 	ret = lorawan_join(&join_cfg);
// 	if (ret < 0) {
// 		LOG_ERR("lorawan_join_network failed: %d", ret);
// 		return 0;
// 	}
// 
// 	LOG_INF("Sending data...");
// 	while (1) {
// 		ret = lorawan_send(2, data, sizeof(data),
// 				   LORAWAN_MSG_CONFIRMED);
// 
// 		/*
// 		 * Note: The stack may return -EAGAIN if the provided data
// 		 * length exceeds the maximum possible one for the region and
// 		 * datarate. But since we are just sending the same data here,
// 		 * we'll just continue.
// 		 */
// 		if (ret == -EAGAIN) {
// 			LOG_ERR("lorawan_send failed: %d. Continuing...", ret);
// 			k_sleep(DELAY);
// 			continue;
// 		}
// 
// 		if (ret < 0) {
// 			LOG_ERR("lorawan_send failed: %d", ret);
// 			return 0;
// 		}
// 
// 		LOG_INF("Data sent!");
// 		k_sleep(DELAY);
// 	}
// }
```

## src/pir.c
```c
#include <zephyr/kernel.h>
#include <zephyr/device.h>
#include <zephyr/devicetree.h>
#include <zephyr/drivers/gpio.h>
#include <zephyr/logging/log.h>
#include "pir.h"

LOG_MODULE_REGISTER(pir, LOG_LEVEL_INF);

/* Get PIR GPIO from DTS:
	 /{
		 zephyr,user { pir_gpios = <&gpio0 28 (GPIO_PULL_DOWN | GPIO_ACTIVE_HIGH)>; };
	 };
*/
#define USER_NODE DT_PATH(zephyr_user)
BUILD_ASSERT(DT_NODE_HAS_PROP(USER_NODE, pir_gpios), "pir_gpios missing in DTS");
static const struct gpio_dt_spec pir = GPIO_DT_SPEC_GET(USER_NODE, pir_gpios);

static struct gpio_callback pir_cb;
static K_SEM_DEFINE(pir_sem, 0, 1);

static void pir_isr(const struct device *dev, struct gpio_callback *cb, uint32_t pins)
{
	ARG_UNUSED(dev);
	ARG_UNUSED(cb);
	ARG_UNUSED(pins);
	k_sem_give(&pir_sem);
}

/* Thread: waits for motion and logs it. */
void pir_handler(void *a, void *b, void *c)
{
	ARG_UNUSED(a);
	ARG_UNUSED(b);
	ARG_UNUSED(c);

	if (!device_is_ready(pir.port))
	{
		LOG_ERR("PIR GPIO controller not ready");
		return;
	}

	int ret = gpio_pin_configure_dt(&pir, GPIO_INPUT);
	if (ret)
	{
		LOG_ERR("gpio_pin_configure_dt: %d", ret);
		return;
	}

	/* Rising edge => motion = HIGH. If your module is active-low, swap to
		 GPIO_INT_EDGE_TO_INACTIVE. */
	ret = gpio_pin_interrupt_configure_dt(&pir, GPIO_INT_EDGE_TO_ACTIVE);
	if (ret)
	{
		LOG_ERR("irq config: %d", ret);
		return;
	}

	gpio_init_callback(&pir_cb, pir_isr, BIT(pir.pin));
	gpio_add_callback(pir.port, &pir_cb);

	LOG_INF("PIR ready. Warm-up ~30s…");

	while (1)
	{
		k_sem_take(&pir_sem, K_FOREVER);
		LOG_INF("Motion detected!");
		/* TODO: add your action here (e.g., enqueue LoRa uplink) */
		printk("Motion detected!\n");
	}
}
```
